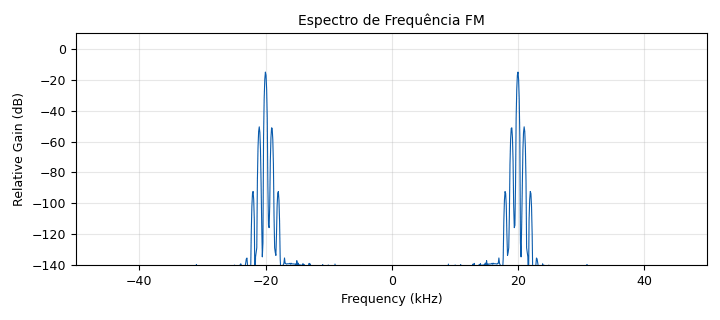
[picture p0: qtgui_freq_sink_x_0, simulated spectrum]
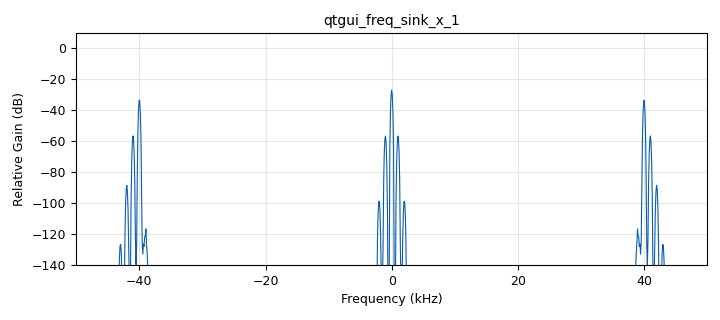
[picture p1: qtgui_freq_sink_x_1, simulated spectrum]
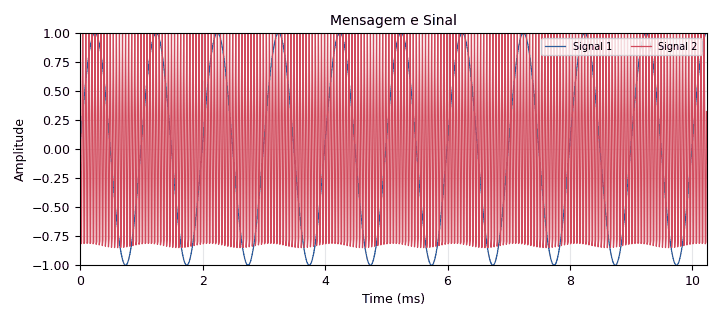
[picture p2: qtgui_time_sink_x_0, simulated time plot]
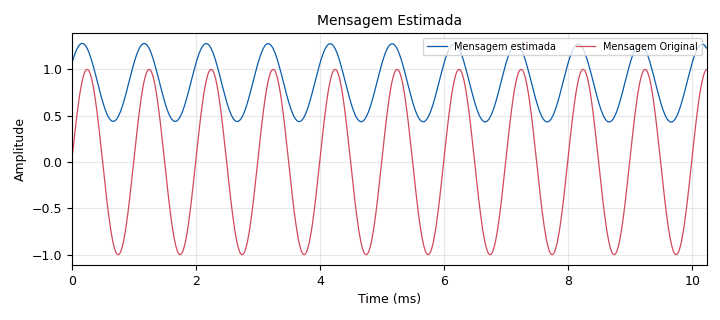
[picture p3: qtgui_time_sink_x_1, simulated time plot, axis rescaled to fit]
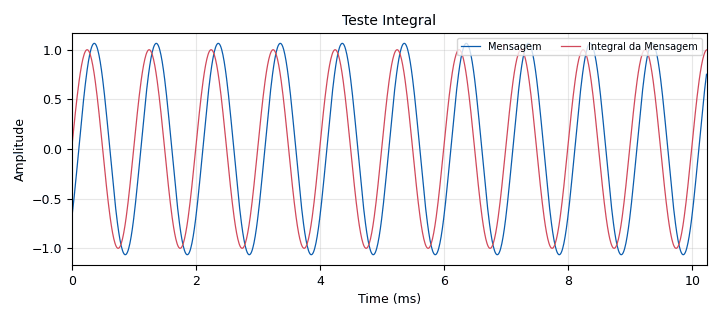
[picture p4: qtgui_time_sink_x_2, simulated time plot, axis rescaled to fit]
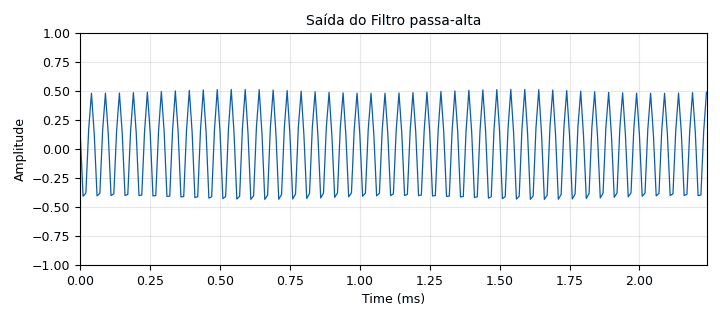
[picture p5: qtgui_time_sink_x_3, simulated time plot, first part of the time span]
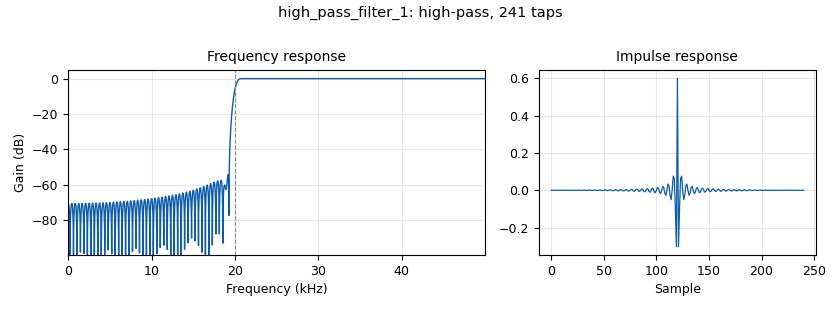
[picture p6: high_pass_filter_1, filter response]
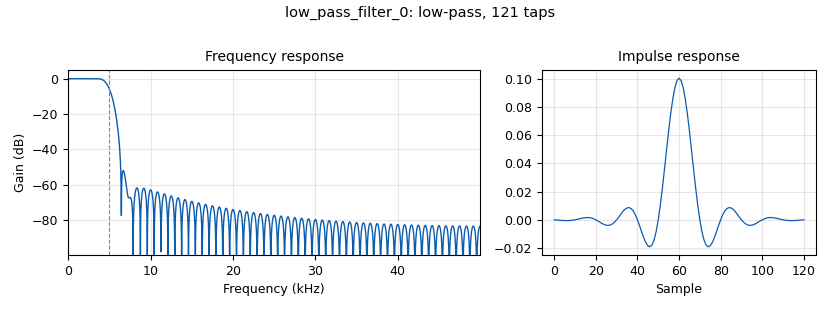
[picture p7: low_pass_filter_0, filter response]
options:
  parameters:
    author: danie
    generate_options: qt_gui
    id: mod_fm
    output_language: python
    title: Modulação FM
  states: {}

blocks:
- name: K
  id: variable_qtgui_range
  parameters:
    label: Amplificador
    outputmsgname: value
    showports: 'False'
    start: '1'
    step: '1'
    stop: '100'
    value: '50'
  states: {}
- name: f_c
  id: variable
  parameters:
    value: 20e3
  states: {}
- name: f_m
  id: variable
  parameters:
    value: '1000'
  states: {}
- name: fcut
  id: variable_qtgui_range
  parameters:
    label: Frequência de corte do filtro passa-alta
    outputmsgname: value
    showports: 'False'
    start: 1e3
    step: '500'
    stop: 50e3
    value: f_c
  states: {}
- name: ft
  id: variable_qtgui_range
  parameters:
    label: Largura de transição do filtro passa-alta
    outputmsgname: value
    showports: 'False'
    start: 1e3
    step: 1e3
    stop: 40e3
    value: 1e3
  states: {}
- name: k_f
  id: variable_qtgui_range
  parameters:
    label: Constante de proporcionalidade
    outputmsgname: value
    showports: 'False'
    start: '10'
    step: '10'
    stop: 10e3
    value: '20'
  states: {}
- name: samp_rate
  id: variable
  parameters:
    value: 100e3
  states: {}
- name: variable_band_pass_filter_taps_0
  id: variable_band_pass_filter_taps
  parameters:
    gain: '1.0'
    samp_rate: samp_rate
    type: band_pass
    win: window.WIN_HAMMING
  states: {state: disabled}
- name: analog_sig_source_x_0
  id: analog_sig_source_x
  parameters:
    amp: '1'
    freq: f_m
    offset: '0'
    phase: '0'
    samp_rate: samp_rate
    type: float
    waveform: analog.GR_COS_WAVE
  states: {}
- name: blocks_add_const_vxx_0
  id: blocks_add_const_vxx
  parameters:
    const: f_c
    type: float
  states: {}
- name: blocks_complex_to_real_0
  id: blocks_complex_to_real
  parameters: {}
  states: {}
- name: blocks_correctiq_0
  id: blocks_correctiq
  parameters: {}
  states: {}
- name: blocks_magphase_to_complex_0
  id: blocks_magphase_to_complex
  parameters: {}
  states: {}
- name: blocks_moving_average_xx_0
  id: blocks_moving_average_xx
  parameters:
    length: '1024'
    max_iter: '4000'
    scale: (1/1024)
    type: float
  states: {}
- name: blocks_moving_average_xx_0_0
  id: blocks_moving_average_xx
  parameters:
    length: '1024'
    max_iter: '4000'
    scale: (1/1024)
    type: float
  states: {}
- name: blocks_moving_average_xx_0_1
  id: blocks_moving_average_xx
  parameters:
    length: '1024'
    max_iter: '4000'
    scale: (1/1024)*(samp_rate/2/f_m)
    type: float
  states: {}
- name: blocks_multiply_const_vxx_0
  id: blocks_multiply_const_vxx
  parameters:
    const: K
    type: float
  states: {}
- name: blocks_multiply_const_vxx_1
  id: blocks_multiply_const_vxx
  parameters:
    const: k_f/2*pi
    type: float
  states: {}
- name: blocks_multiply_xx_0
  id: blocks_multiply_xx
  parameters:
    type: float
  states: {}
- name: blocks_multiply_xx_0_0
  id: blocks_multiply_xx
  parameters:
    type: float
  states: {}
- name: blocks_multiply_xx_1
  id: blocks_multiply_xx
  parameters:
    type: float
  states: {}
- name: blocks_null_source_0
  id: blocks_null_source
  parameters:
    type: float
  states: {}
- name: blocks_throttle_0
  id: blocks_throttle
  parameters:
    samples_per_second: samp_rate
    type: float
  states: {}
- name: blocks_vco_f_0
  id: blocks_vco_f
  parameters:
    amplitude: '1'
    samp_rate: samp_rate
    sensitivity: 2*pi
  states: {}
- name: high_pass_filter_0
  id: high_pass_filter
  parameters:
    cutoff_freq: f_c + 10e3
    decim: '1'
    gain: '1'
    samp_rate: samp_rate
    type: fir_filter_fff
    win: window.WIN_HAMMING
  states: {state: disabled}
- name: high_pass_filter_1
  id: high_pass_filter
  parameters:
    cutoff_freq: fcut
    decim: '1'
    gain: '1'
    samp_rate: samp_rate
    type: fir_filter_fff
    width: ft
    win: window.WIN_HAMMING
  states: {}
- name: import_0
  id: import
  parameters:
    imports: from math import pi
  states: {}
- name: low_pass_filter_0
  id: low_pass_filter
  parameters:
    cutoff_freq: 5e3
    decim: '1'
    gain: '1'
    samp_rate: samp_rate
    type: fir_filter_fff
    width: 2e3
    win: window.WIN_HAMMING
  states: {}
- name: qtgui_freq_sink_x_0
  id: qtgui_freq_sink_x
  parameters:
    bw: samp_rate
    fc: '0'
    fftsize: '1024'
    name: Espectro de Frequência FM
    type: float
  states: {}
- name: qtgui_freq_sink_x_1
  id: qtgui_freq_sink_x
  parameters:
    bw: samp_rate
    fc: '0'
    fftsize: '1024'
    type: float
  states: {}
- name: qtgui_number_sink_0
  id: qtgui_number_sink
  parameters:
    autoscale: 'True'
    graph_type: qtgui.NUM_GRAPH_NONE
    label1: Potência da Mensagem
    label2: Potência do Sinal FM
    name: Potência do sinal
    nconnections: '2'
    type: float
  states: {}
- name: qtgui_time_sink_x_0
  id: qtgui_time_sink_x
  parameters:
    name: Mensagem e Sinal
    nconnections: '2'
    size: '1024'
    srate: samp_rate
    type: float
  states: {}
- name: qtgui_time_sink_x_1
  id: qtgui_time_sink_x
  parameters:
    label1: Mensagem estimada
    label2: Mensagem Original
    name: Mensagem Estimada
    nconnections: '2'
    size: '1024'
    srate: samp_rate
    type: float
  states: {}
- name: qtgui_time_sink_x_2
  id: qtgui_time_sink_x
  parameters:
    grid: 'True'
    label1: 'Mensagem '
    label2: Integral da Mensagem
    name: Teste Integral
    nconnections: '2'
    size: '1024'
    srate: samp_rate
    type: float
  states: {}
- name: qtgui_time_sink_x_3
  id: qtgui_time_sink_x
  parameters:
    name: Saída do Filtro passa-alta
    size: '1024'
    srate: samp_rate
    type: float
  states: {}
- name: virtual_sink_0
  id: virtual_sink
  parameters:
    stream_id: m(t)
  states: {}
- name: virtual_sink_0_0
  id: virtual_sink
  parameters:
    stream_id: Pm
  states: {}
- name: virtual_sink_1
  id: virtual_sink
  parameters:
    stream_id: s(t)
  states: {}
- name: virtual_sink_1_0
  id: virtual_sink
  parameters:
    stream_id: Ps
  states: {}
- name: virtual_source_0
  id: virtual_source
  parameters:
    stream_id: m(t)
  states: {}
- name: virtual_source_0_0
  id: virtual_source
  parameters:
    stream_id: s(t)
  states: {}
- name: virtual_source_0_0_0
  id: virtual_source
  parameters:
    stream_id: Pm
  states: {}
- name: virtual_source_0_0_1
  id: virtual_source
  parameters:
    stream_id: s(t)
  states: {state: disabled}
- name: virtual_source_0_0_2
  id: virtual_source
  parameters:
    stream_id: s(t)
  states: {}
- name: virtual_source_0_1
  id: virtual_source
  parameters:
    stream_id: Ps
  states: {}
- name: virtual_source_0_2
  id: virtual_source
  parameters:
    stream_id: m(t)
  states: {}

connections:
- [analog_sig_source_x_0, '0', blocks_moving_average_xx_0_1, '0']
- [analog_sig_source_x_0, '0', blocks_multiply_xx_0, '0']
- [analog_sig_source_x_0, '0', blocks_multiply_xx_0, '1']
- [analog_sig_source_x_0, '0', blocks_throttle_0, '0']
- [analog_sig_source_x_0, '0', qtgui_time_sink_x_2, '1']
- [blocks_add_const_vxx_0, '0', blocks_vco_f_0, '0']
- [blocks_complex_to_real_0, '0', blocks_multiply_const_vxx_0, '0']
- [blocks_correctiq_0, '0', blocks_complex_to_real_0, '0']
- [blocks_magphase_to_complex_0, '0', blocks_correctiq_0, '0']
- [blocks_moving_average_xx_0, '0', virtual_sink_0_0, '0']
- [blocks_moving_average_xx_0_0, '0', virtual_sink_1_0, '0']
- [blocks_moving_average_xx_0_1, '0', blocks_multiply_const_vxx_1, '0']
- [blocks_moving_average_xx_0_1, '0', qtgui_time_sink_x_2, '0']
- [blocks_multiply_const_vxx_0, '0', qtgui_time_sink_x_1, '0']
- [blocks_multiply_const_vxx_1, '0', blocks_add_const_vxx_0, '0']
- [blocks_multiply_xx_0, '0', blocks_moving_average_xx_0, '0']
- [blocks_multiply_xx_0_0, '0', blocks_moving_average_xx_0_0, '0']
- [blocks_multiply_xx_1, '0', low_pass_filter_0, '0']
- [blocks_multiply_xx_1, '0', qtgui_freq_sink_x_1, '0']
- [blocks_null_source_0, '0', blocks_magphase_to_complex_0, '1']
- [blocks_throttle_0, '0', virtual_sink_0, '0']
- [blocks_vco_f_0, '0', blocks_multiply_xx_0_0, '0']
- [blocks_vco_f_0, '0', blocks_multiply_xx_0_0, '1']
- [blocks_vco_f_0, '0', virtual_sink_1, '0']
- [high_pass_filter_1, '0', blocks_multiply_xx_1, '0']
- [high_pass_filter_1, '0', blocks_multiply_xx_1, '1']
- [high_pass_filter_1, '0', qtgui_time_sink_x_3, '0']
- [low_pass_filter_0, '0', blocks_magphase_to_complex_0, '0']
- [virtual_source_0, '0', qtgui_time_sink_x_0, '0']
- [virtual_source_0_0, '0', qtgui_freq_sink_x_0, '0']
- [virtual_source_0_0, '0', qtgui_time_sink_x_0, '1']
- [virtual_source_0_0_0, '0', qtgui_number_sink_0, '0']
- [virtual_source_0_0_2, '0', high_pass_filter_1, '0']
- [virtual_source_0_1, '0', qtgui_number_sink_0, '1']
- [virtual_source_0_2, '0', qtgui_time_sink_x_1, '1']

metadata:
  file_format: 1
  grc_version: 3.10.4.0
